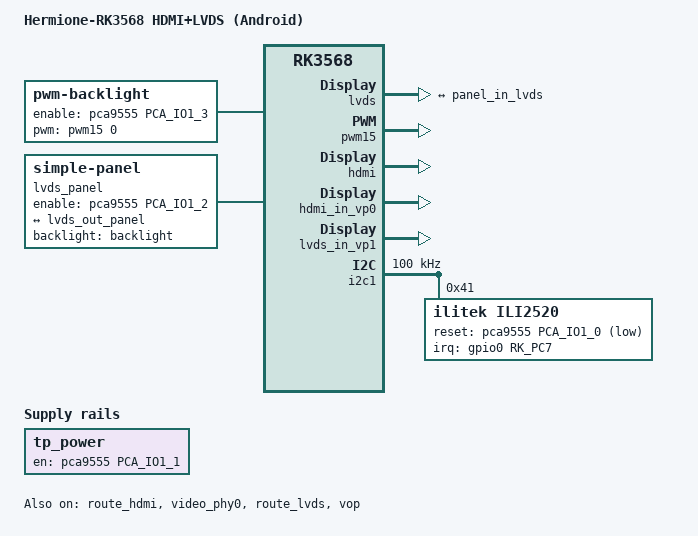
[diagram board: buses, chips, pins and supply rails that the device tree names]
// SPDX-License-Identifier: (GPL-2.0+ OR MIT)
/*
 * Copyright (c) 2020 Rockchip Electronics Co., Ltd.
 *
 */

 /dts-v1/;
#include <dt-bindings/display/media-bus-format.h>
#include "rk3568-firefly-itx-3568q.dtsi"

/ {
    model = "Hermione-RK3568 HDMI+LVDS (Android)";
    compatible = "rockchip,rk3568-firefly-itx-3568q-lvds", "rockchip,rk3568";

    backlight:backlight {
        status = "okay";
        enable-gpios = <&pca9555 PCA_IO1_3 GPIO_ACTIVE_HIGH>;
        compatible = "pwm-backlight";
        pwms = <&pwm15 0 25000 1>;
        brightness-levels = <
             60  60  60  61  61  61  62  62
             62  63  63  63  64  64  64  65
             65  65  66  66  66  67  67  67
             68  68  68  69  69  69  70  70
             70  71  71  71  72  72  72  73
             73  73  74  74  74  75  75  75
             76  76  76  77  77  77  78  78
             78  79  79  79  80  80  80  81
             81  81  82  82  82  83  83  83
             84  84  84  85  85  85  86  86
             86  87  87  87  88  88  88  89
             89  89  90  91  92  93  94  95
             96  97  98  99 100 101 102 103
            104 105 106 107 108 109 110 111
            112 113 114 115 116 117 118 119
            120 121 122 123 124 125 126 127
            128 129 130 131 132 133 134 135
            136 137 138 139 140 141 142 143
            144 145 146 147 148 149 150 151
            152 153 154 155 156 157 158 159
            160 161 162 163 164 165 166 167
            168 169 170 171 172 173 174 175
            176 177 178 179 180 181 182 183
            184 185 186 187 188 189 190 191
            192 193 194 195 196 197 198 199
            200 201 202 203 204 205 206 207
            208 209 210 211 212 213 214 215
            216 217 218 219 220 221 222 223
            224 225 226 227 228 229 230 231
            232 233 234 235 236 237 238 239
            240 241 242 243 244 245 246 247
            248 249 250 251 252 253 254 255
        >;
        default-brightness-level = <200>;
    };

    lvds_panel: lvds-panel {
        compatible = "simple-panel";
        status = "okay";
        enable-gpios = <&pca9555 PCA_IO1_2 GPIO_ACTIVE_HIGH>;
        backlight = <&backlight>;
        enable-delay-ms = <35>;
        prepare-delay-ms = <6>;
        unprepare-delay-ms = <0>;
        disable-delay-ms = <20>;
        bus-format = <MEDIA_BUS_FMT_RGB888_1X7X4_SPWG>;
        display-timings {
            native-mode = <&timing0>;
            timing0: timing0 {
                clock-frequency = <72000000>;
                hactive = <1280>;
                vactive = <800>;
                hfront-porch = <50>;
                hsync-len = <10>;
                hback-porch = <50>;
                vfront-porch = <10>;
                vsync-len = <18>;
                vback-porch = <10>;
                hsync-active = <0>;
                vsync-active = <0>;
                de-active = <0>;
                pixelclk-active = <0>;
            };
        };

        ports {
            #address-cells = <1>;
            #size-cells = <0>;

            port@0 {
                reg = <0>;
                //dual-lvds-even-pixels;
                panel_in_lvds: endpoint {
                    remote-endpoint = <&lvds_out_panel>;
                };
            };
        };
    };

    tp_power: tp-power-regulator {
        compatible = "regulator-fixed";
        enable-active-high;
        gpio = <&pca9555 PCA_IO1_1 GPIO_ACTIVE_HIGH>;
        regulator-always-on;
    };

    fiq-debugger {
        rockchip,baudrate = <115200>;  /* Only 115200 and 1500000 */
    };
};

&lvds {
    status = "okay";
    ports {
        lvds_out:port@1 {
            reg = <1>;

            lvds_out_panel: endpoint {
                remote-endpoint = <&panel_in_lvds>;
            };
        };
    };
};

// lvds backlight pwm
&pwm15 {
    status = "okay";
};

// hdmi
&route_hdmi {
    status = "okay";
    connect = <&vp0_out_hdmi>;
};

&hdmi {
    status = "okay";
};

&hdmi_in_vp0 {
    status = "okay";
};

&hdmi_in_vp1 {
    status = "disabled";
};

//lvds
&dsi0 {
    status = "disabled";
};

&dsi0_in_vp0 {
    status = "disabled";
};

&dsi0_in_vp1 {
    status = "disabled";
};

&video_phy0 {
    status = "okay";
};

&lvds_in_vp1 {
    status = "okay";
};

&lvds_in_vp2 {
    status = "disabled";
};

&route_lvds {
    status = "okay";
    connect = <&vp1_out_lvds>;
};

&vop {
    status = "okay";
    assigned-clocks = <&cru DCLK_VOP0>, <&cru DCLK_VOP1>;
    assigned-clock-parents = <&pmucru PLL_HPLL>, <&cru PLL_VPLL>;
};

&i2c1 {
    status = "okay";
    clock-frequency = <100000>;
    ilitek: ilitek@41 {
        status = "okay";
        compatible = "ilitek,ili2520";
        reg = <0x41>;
        interrupt-parent = <&gpio0>;
        interrupts = <RK_PC7 IRQ_TYPE_LEVEL_LOW>;
        reset-gpios = <&pca9555 PCA_IO1_0 GPIO_ACTIVE_LOW>;
        wakeup-source;
    };
};

/delete-node/ &vcc3v3_lcd0_n;
/delete-node/ &vcc3v3_lcd1_n;
